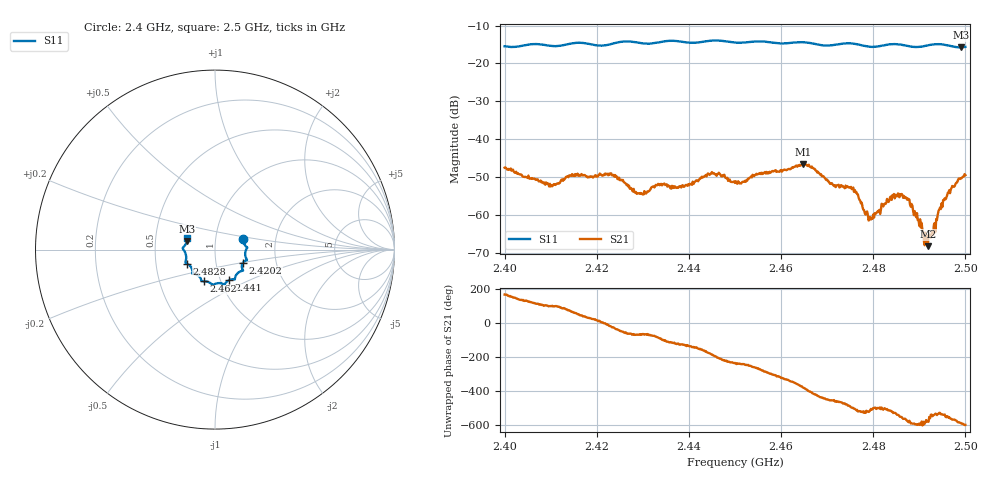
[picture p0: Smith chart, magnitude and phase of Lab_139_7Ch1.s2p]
# Hz S RI R 50
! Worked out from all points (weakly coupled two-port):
!   601 points, 2.4 GHz to 2.5 GHz, reference 50 ohm
!   highest |S21| = -46.62 dB at 2.4648 GHz (marker M1); lowest = -68.3 dB at 2.4918 GHz (marker M2)
!   lowest |S11| = -15.8 dB at 2.499 GHz (marker M3), VSWR 1.39, Z = 36.4 + j3.6 ohm
!   |S11| at or under -10 dB: start of sweep to end of sweep
!   S12 and S22 are empty: the file has one direction only
!   S11 on the Smith chart (normalised r, x): 2.4 GHz: 1.36, +0.17; 2.4202 GHz: 1.36, -0.20; 2.441 GHz: 1.10, -0.39; 2.462 GHz: 0.83, -0.30; 2.4828 GHz: 0.72, -0.12; 2.5 GHz: 0.73, +0.09
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2.4e9  0.1571 0.061  -0.00409 0.000908  0 0  0 0
2.41e9  0.1703 -0.00733  -0.000403 0.00234  0 0  0 0
2.416667e9  0.1774 -0.0591  0.00243 0.00246  0 0  0 0
2.420167e9  0.1569 -0.0719  0.00309 0.000814  0 0  0 0
2.4235e9  0.1509 -0.1033  0.00302 -0.00142  0 0  0 0
2.429167e9  0.1427 -0.121  0.000723 -0.00177  0 0  0 0
2.433333e9  0.1127 -0.1519  0.000177 -0.00256  0 0  0 0
2.441e9  0.0773 -0.1705  -0.00197 -0.00163  0 0  0 0
2.445167e9  0.0531 -0.1933  -0.00349 0.000461  0 0  0 0
2.45e9  0.027 -0.1867  -0.00153 0.00215  0 0  0 0
2.462e9  -0.0614 -0.1761  0.00381 0.00124  0 0  0 0
2.464833e9  -0.0749 -0.1752  0.00436 -0.00166  0 0  0 0
2.466667e9  -0.0775 -0.1673  0.0029 -0.00323  0 0  0 0
2.4755e9  -0.1263 -0.1328  -0.0017 -0.00145  0 0  0 0
2.479333e9  -0.1317 -0.1004  -0.000829 -0.000427  0 0  0 0
2.482833e9  -0.158 -0.0778  -0.00122 -0.000781  0 0  0 0
2.483333e9  -0.1607 -0.0764  -0.00134 -0.000636  0 0  0 0
2.487333e9  -0.1612 -0.0562  -0.00131 0.000889  0 0  0 0
2.491833e9  -0.1731 -0.00373  -0.000301 0.000242  0 0  0 0
2.495667e9  -0.1751 0.015  -0.00157 0.000288  0 0  0 0
2.499e9  -0.1558 0.0482  -0.00207 0.00225  0 0  0 0
2.5e9  -0.1532 0.062  -0.00171 0.00288  0 0  0 0
